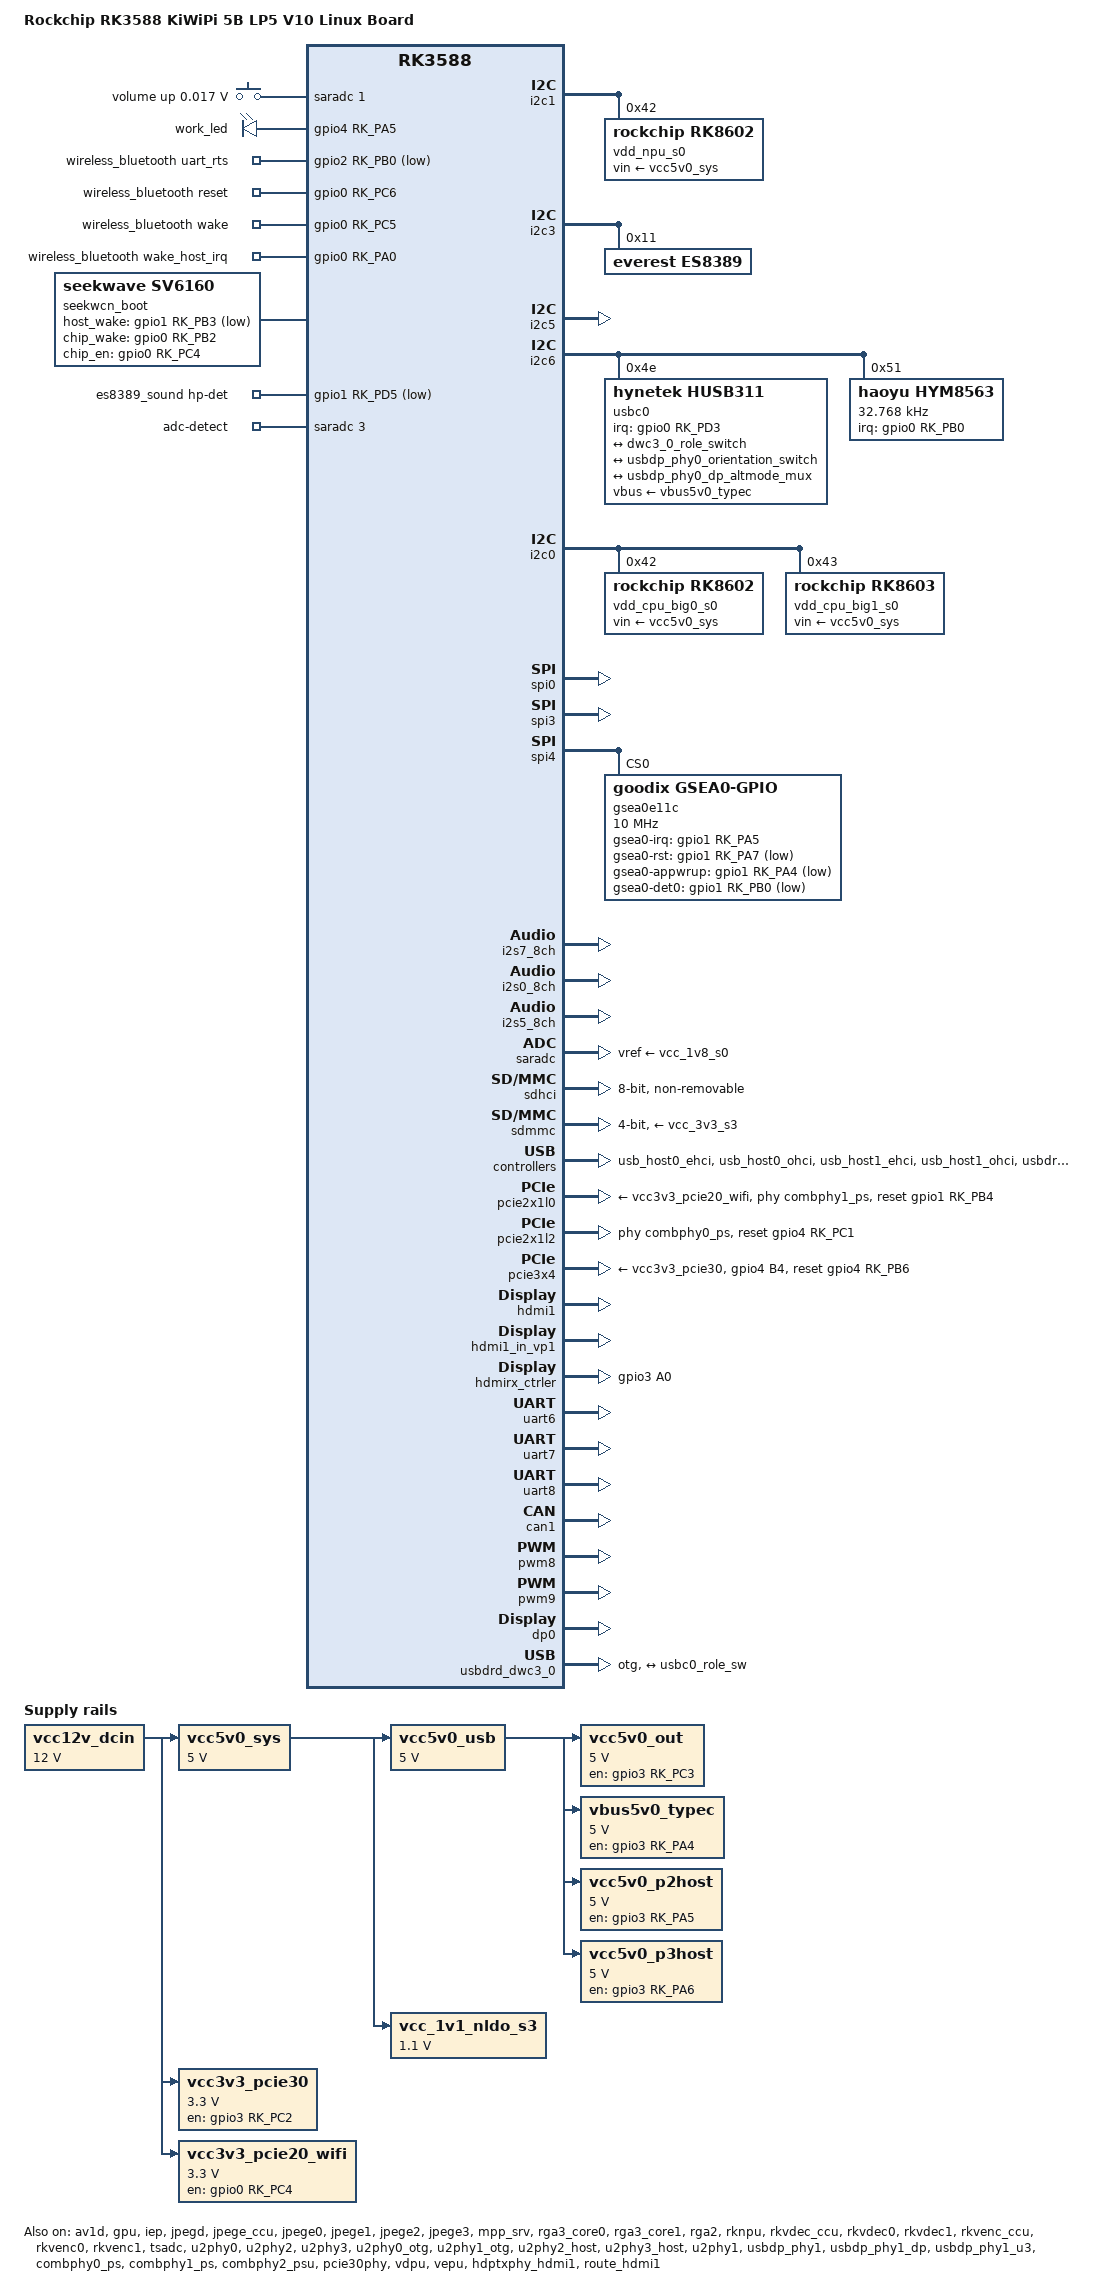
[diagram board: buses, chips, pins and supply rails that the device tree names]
// SPDX-License-Identifier: (GPL-2.0+ OR MIT)
/*
 * Copyright (c) 2021 Rockchip Electronics Co., Ltd.
 *
 */

/dts-v1/;

#include "dt-bindings/usb/pd.h"
#include <dt-bindings/gpio/gpio.h>
#include <dt-bindings/pwm/pwm.h>
#include <dt-bindings/pinctrl/rockchip.h>
#include <dt-bindings/input/rk-input.h>
#include <dt-bindings/display/drm_mipi_dsi.h>
#include <dt-bindings/display/rockchip_vop.h>
#include <dt-bindings/sensor-dev.h>
#include "rk3588.dtsi"
#include "rk3588-rk806-single.dtsi"
#include "rk3588-linux.dtsi"
#include "rk3588-kiwipi-5b-edp.dtsi"
//#include "rk3588-kiwipi-5b-mipi.dtsi"
/ {
	model = "Rockchip RK3588 KiWiPi 5B LP5 V10 Linux Board";
	compatible = "rockchip,rk3588-kiwipi-5B-lp5-v10", "rockchip,rk3588";

	/* If hdmirx node is disabled, delete the reserved-memory node here. */
	reserved-memory {
		#address-cells = <2>;
		#size-cells = <2>;
		ranges;

		/* Reserve 256MB memory for hdmirx-controller@fdee0000 */
		cma {
			compatible = "shared-dma-pool";
			reusable;
			reg = <0x0 (256 * 0x100000) 0x0 (256 * 0x100000)>;
			linux,cma-default;
		};
	};

	hdmiin-sound {
		compatible = "rockchip,hdmi";
		rockchip,mclk-fs = <128>;
		rockchip,format = "i2s";
		rockchip,bitclock-master = <&hdmirx_ctrler>;
		rockchip,frame-master = <&hdmirx_ctrler>;
		rockchip,card-name = "rockchip,hdmiin";
		rockchip,cpu = <&i2s7_8ch>;
		rockchip,codec = <&hdmirx_ctrler 0>;
		rockchip,jack-det;
	};

	adc_keys: adc-keys {
		compatible = "adc-keys";
		io-channels = <&saradc 1>;
		io-channel-names = "buttons";
		keyup-threshold-microvolt = <1800000>;
		poll-interval = <100>;

		vol-up-key {
			label = "volume up";
			linux,code = <KEY_VOLUMEUP>;
			press-threshold-microvolt = <17000>;
		};
	};

	leds: leds {
		compatible = "gpio-leds";
		work_led: work {
			gpios = <&gpio4 RK_PA5 GPIO_ACTIVE_HIGH>;
			default-state = "on";
		};
	};

	vcc12v_dcin: vcc12v-dcin {
		compatible = "regulator-fixed";
		regulator-name = "vcc12v_dcin";
		regulator-always-on;
		regulator-boot-on;
		regulator-min-microvolt = <12000000>;
		regulator-max-microvolt = <12000000>;
	};

	vcc5v0_sys: vcc5v0-sys {
		compatible = "regulator-fixed";
		regulator-name = "vcc5v0_sys";
		regulator-always-on;
		regulator-boot-on;
		regulator-min-microvolt = <5000000>;
		regulator-max-microvolt = <5000000>;
		vin-supply = <&vcc12v_dcin>;
	};

	vcc5v0_usb: vcc5v0-usb {
		compatible = "regulator-fixed";
		regulator-name = "vcc5v0_usb";
		regulator-always-on;
		regulator-boot-on;
		regulator-min-microvolt = <5000000>;
		regulator-max-microvolt = <5000000>;
		vin-supply = <&vcc5v0_sys>;
	};

	test_power: test-power {
		status = "okay";
	};

	vcc3v3_pcie30: vcc3v3-pcie30 {
		compatible = "regulator-fixed";
		regulator-name = "vcc3v3_pcie30";
		regulator-min-microvolt = <3300000>;
		regulator-max-microvolt = <3300000>;
		//regulator-boot-on;
		enable-active-high;
		gpios = <&gpio3 RK_PC2 GPIO_ACTIVE_HIGH>;
		startup-delay-us = <5000>;
		vin-supply = <&vcc12v_dcin>;
	};

	vcc3v3_pcie20_wifi: vcc3v3-pcie20-wifi {
		compatible = "regulator-fixed";
		regulator-name = "vcc3v3_pcie20_wifi";
		regulator-min-microvolt = <3300000>;
		regulator-max-microvolt = <3300000>;
		//regulator-boot-on;
		enable-active-high;
		gpios = <&gpio0 RK_PC4 GPIO_ACTIVE_HIGH>;
		vin-supply = <&vcc12v_dcin>;
	};

	vcc5v0_out: vcc5v0-out {
		compatible = "regulator-fixed";
		regulator-name = "vcc5v0_out";
		regulator-boot-on;
		regulator-always-on;
		regulator-min-microvolt = <5000000>;
		regulator-max-microvolt = <5000000>;
		enable-active-high;
		gpio = <&gpio3 RK_PC3 GPIO_ACTIVE_HIGH>;
		vin-supply = <&vcc5v0_usb>;
		pinctrl-names = "default";
		pinctrl-0 = <&vcc5v0_out_en>;
	};

	vbus5v0_typec: vbus5v0-typec {
		compatible = "regulator-fixed";
		regulator-name = "vbus5v0_typec";
		regulator-boot-on;
		regulator-always-on;
		regulator-min-microvolt = <5000000>;
		regulator-max-microvolt = <5000000>;
		enable-active-high;
		gpio = <&gpio3 RK_PA4 GPIO_ACTIVE_HIGH>;
		vin-supply = <&vcc5v0_usb>;
		pinctrl-names = "default";
		pinctrl-0 = <&vcc5v0_p1host_en>;
	};

	vcc5v0_p2host: vcc5v0-p2host {
		compatible = "regulator-fixed";
		regulator-name = "vcc5v0_p2host";
		regulator-boot-on;
		regulator-always-on;
		regulator-min-microvolt = <5000000>;
		regulator-max-microvolt = <5000000>;
		enable-active-high;
		gpio = <&gpio3 RK_PA5 GPIO_ACTIVE_HIGH>;
		vin-supply = <&vcc5v0_usb>;
		pinctrl-names = "default";
		pinctrl-0 = <&vcc5v0_p2host_en>;
	};
	
	vcc5v0_p3host: vcc5v0-p3host {
		compatible = "regulator-fixed";
		regulator-name = "vcc5v0_p3host";
		regulator-boot-on;
		regulator-always-on;
		regulator-min-microvolt = <5000000>;
		regulator-max-microvolt = <5000000>;
		enable-active-high;
		gpio = <&gpio3 RK_PA6 GPIO_ACTIVE_HIGH>;
		vin-supply = <&vcc5v0_usb>;
		pinctrl-names = "default";
		pinctrl-0 = <&vcc5v0_p3host_en>;
	};

	vcc_1v1_nldo_s3: vcc-1v1-nldo-s3 {
		compatible = "regulator-fixed";
		regulator-name = "vcc_1v1_nldo_s3";
		regulator-always-on;
		regulator-boot-on;
		regulator-min-microvolt = <1100000>;
		regulator-max-microvolt = <1100000>;
		vin-supply = <&vcc5v0_sys>;
	};

	sdio_pwrseq: sdio-pwrseq {
		compatible = "mmc-pwrseq-simple";
		//clocks = <&hym8563>;
		//clock-names = "ext_clock";
		//pinctrl-names = "default";
		//pinctrl-0 = <&wifi_enable_h>;
		/*
		 * On the module itself this is one of these (depending
		 * on the actual card populated):
		 * - SDIO_RESET_L_WL_REG_ON
		 * - PDN (power down when low)
		 */
		post-power-on-delay-ms = <200>;
		//reset-gpios = <&gpio0 RK_PC4 GPIO_ACTIVE_LOW>;
		status = "disabled";
	};

	wireless_bluetooth: wireless-bluetooth {
		compatible = "bluetooth-platdata";
		//clocks = <&hym8563>;
		//clock-names = "ext_clock";
		uart_rts_gpios = <&gpio2 RK_PB0 GPIO_ACTIVE_LOW>;
		pinctrl-names = "default", "rts_gpio";
		pinctrl-0 = <&uart6m0_rtsn>, <&bt_reset_gpio>, <&bt_wake_gpio>, <&bt_irq_gpio>;
		pinctrl-1 = <&uart6_gpios>;
		BT,reset_gpio    = <&gpio0 RK_PC6 GPIO_ACTIVE_HIGH>;
		BT,wake_gpio     = <&gpio0 RK_PC5 GPIO_ACTIVE_HIGH>;
		BT,wake_host_irq = <&gpio0 RK_PA0 GPIO_ACTIVE_HIGH>;
		status = "okay";
	};
#if 0
	wireless_wlan: wireless-wlan {
		compatible = "wlan-platdata";
		wifi_chip_type = "rtl8852be";
		pinctrl-names = "default";
		pinctrl-0 = <&wifi_host_wake_irq>;
		WIFI,host_wake_irq = <&gpio0 RK_PB2 GPIO_ACTIVE_HIGH>;
		//WIFI,poweren_gpio = <&gpio0 RK_PC4 GPIO_ACTIVE_HIGH>;
		status = "okay";
	};
#else
	seekwcn_boot:seekwcn_boot {
		compatible = "seekwave,sv6160";
		dma_type = <1>;/*1:ADMA,2:SDMA*/
		seekwave_nv_name = "SEEKWAVE_NV_SWT6652.bin";
		status = "okay";
		gpio_host_wake = <&gpio1 RK_PB3 GPIO_ACTIVE_LOW>;
		gpio_chip_wake = <&gpio0 RK_PB2 GPIO_ACTIVE_HIGH>;
		gpio_chip_en = <&gpio0 RK_PC4 GPIO_ACTIVE_HIGH>; // 配置wifi芯片第15脚CHIP_EN
	};
#endif
	es8389_sound: es8389-sound {
		status = "okay";
		compatible = "rockchip,multicodecs-card";
		rockchip,card-name = "rockchip-es8389";
		rockchip,format = "i2s";
		rockchip,mclk-fs = <256>;
		rockchip,cpu = <&i2s0_8ch>;
		rockchip,codec = <&es8389>;
		hp-det-gpio = <&gpio1 RK_PD5 GPIO_ACTIVE_LOW>;
		io-channels = <&saradc 3>;
		io-channel-names = "adc-detect";
		pinctrl-names = "default";
		pinctrl-0 = <&hp_det>;
		rockchip,audio-routing =
		"Headphone", "HPOL",
		"Headphone", "HPOR",
		"Headphone", "Headphone Power",
		"Headphone", "Headphone Power";
		//"MIC1", "Headset Mic",
		//"MIC2", "Main Mic";
	};

	hdmi1_sound: hdmi1-sound {
		status = "okay";
		compatible = "rockchip,hdmi";
		rockchip,mclk-fs = <128>;
		rockchip,card-name = "rockchip-hdmi1";
		rockchip,cpu = <&i2s5_8ch>;
		rockchip,codec = <&hdmi1>;
		rockchip,jack-det;
	};

	/*rk_headset: rk-headset {
		status = "okay";
		compatible = "rockchip_headset";
		headset_gpio = <&gpio1 RK_PD5 GPIO_ACTIVE_LOW>;
		pinctrl-names = "default";
		pinctrl-0 = <&hp_det>;
		io-channels = <&saradc 3>;
	};*/

};

&i2c1 {
	status = "okay";
	pinctrl-names = "default";
	pinctrl-0 = <&i2c1m2_xfer>;

	vdd_npu_s0: vdd_npu_mem_s0: rk8602@42 {
		compatible = "rockchip,rk8602";
		reg = <0x42>;
		vin-supply = <&vcc5v0_sys>;
		regulator-compatible = "rk860x-reg";
		regulator-name = "vdd_npu_s0";
		regulator-min-microvolt = <550000>;
		regulator-max-microvolt = <950000>;
		regulator-ramp-delay = <2300>;
		rockchip,suspend-voltage-selector = <1>;
		regulator-boot-on;
		regulator-always-on;
		regulator-state-mem {
			regulator-off-in-suspend;
		};
	};
};

&i2c3 {
	status = "okay";
	es8389: es8389@11 {
		status = "okay";
		compatible = "everest,es8389";
		reg = <0x11>; //0x11 AD0=1.8v //0x10 AD0=GND
		#sound-dai-cells = <0>;
		clocks = <&mclkout_i2s0>;
		clock-names = "mclk";
		assigned-clocks = <&cru I2S0_8CH_MCLKOUT>;
		assigned-clock-rates = <12288000>;
		pinctrl-names = "default";
		pinctrl-0 = <&i2s0_mclk>;
	};
};

&i2c5 {
	status = "okay";
};

&i2c6 {
	status = "okay";
	pinctrl-names = "default";
	pinctrl-0 = <&i2c6m0_xfer>;

	usbc0: husb311@4e {
		compatible = "hynetek,husb311";
		reg = <0x4e>;
		interrupt-parent = <&gpio0>;
		interrupts = <RK_PD3 IRQ_TYPE_LEVEL_LOW>;
		pinctrl-names = "default";
		pinctrl-0 = <&usbc0_int>;
		vbus-supply = <&vbus5v0_typec>;
		status = "okay";

		ports {
			#address-cells = <1>;
			#size-cells = <0>;

			port@0 {
				reg = <0>;
				usbc0_role_sw: endpoint@0 {
					remote-endpoint = <&dwc3_0_role_switch>;
				};
			};
		};

		usb_con: connector {
			compatible = "usb-c-connector";
			label = "USB-C";
			data-role = "dual";
			power-role = "dual";
			try-power-role = "sink";
			op-sink-microwatt = <1000000>;
			sink-pdos =
				<PDO_FIXED(5000, 3000, PDO_FIXED_USB_COMM)
				 PDO_FIXED(9000, 3000, PDO_FIXED_USB_COMM)
				 PDO_FIXED(12000, 3000, PDO_FIXED_USB_COMM)>;
			source-pdos =
				<PDO_FIXED(5000, 3000, PDO_FIXED_USB_COMM)>;

			altmodes {
				#address-cells = <1>;
				#size-cells = <0>;

				altmode@0 {
					reg = <0>;
					svid = <0xff01>;
					vdo = <0xffffffff>;
				};
			};

			ports {
				#address-cells = <1>;
				#size-cells = <0>;

				port@0 {
					reg = <0>;
					usbc0_orien_sw: endpoint {
						remote-endpoint = <&usbdp_phy0_orientation_switch>;
					};
				};

				port@1 {
					reg = <1>;
					dp_altmode_mux: endpoint {
						remote-endpoint = <&usbdp_phy0_dp_altmode_mux>;
					};
				};
			};
		};
	};

	hym8563: hym8563@51 {
		compatible = "haoyu,hym8563";
		reg = <0x51>;
		#clock-cells = <0>;
		clock-frequency = <32768>;
		clock-output-names = "hym8563";
		pinctrl-names = "default";
		pinctrl-0 = <&hym8563_int>;
		interrupt-parent = <&gpio0>;
		interrupts = <RK_PB0 IRQ_TYPE_LEVEL_LOW>;
		wakeup-source;
		status = "okay";
	};
};

&i2c0 {
	status = "okay";
	pinctrl-names = "default";
	pinctrl-0 = <&i2c0m2_xfer>;

	vdd_cpu_big0_s0: vdd_cpu_big0_mem_s0: rk8602@42 {
		compatible = "rockchip,rk8602";
		reg = <0x42>;
		vin-supply = <&vcc5v0_sys>;
		regulator-compatible = "rk860x-reg";
		regulator-name = "vdd_cpu_big0_s0";
		regulator-min-microvolt = <550000>;
		regulator-max-microvolt = <1050000>;
		regulator-ramp-delay = <2300>;
		rockchip,suspend-voltage-selector = <1>;
		regulator-boot-on;
		regulator-always-on;
		regulator-state-mem {
			regulator-off-in-suspend;
		};
	};

	vdd_cpu_big1_s0: vdd_cpu_big1_mem_s0: rk8603@43 {
		compatible = "rockchip,rk8603";
		reg = <0x43>;
		vin-supply = <&vcc5v0_sys>;
		regulator-compatible = "rk860x-reg";
		regulator-name = "vdd_cpu_big1_s0";
		regulator-min-microvolt = <550000>;
		regulator-max-microvolt = <1050000>;
		regulator-ramp-delay = <2300>;
		rockchip,suspend-voltage-selector = <1>;
		regulator-boot-on;
		regulator-always-on;
		regulator-state-mem {
			regulator-off-in-suspend;
		};
	};
};

&spi0 {
	status = "okay";
	pinctrl-names = "default";
	pinctrl-0 = <&spi0m1_cs0 &spi0m1_pins>;
};

&spi3 {
	status = "okay";
	pinctrl-names = "default";
	pinctrl-0 = <&spi3m0_cs0 &spi3m0_pins>;
};

&spi4 {
	status = "okay";
	pinctrl-names = "default";
	pinctrl-0 = <&spi4m2_cs0 &spi4m2_pins>;
	//max-freq = <48000000>;
    
	gsea0e11c: gsea0e11c@0 {
		compatible = "goodix,gsea0-gpio";
		reg = <0>;
		spi-max-frequency = <10000000>;
		//vdd-supply = <&vcc_1v8_s3>;

		gsea0-irq = <&gpio1 RK_PA5 IRQ_TYPE_EDGE_RISING>;
		gsea0-rst = <&gpio1 RK_PA7 GPIO_ACTIVE_LOW>;
		gsea0-appwrup = <&gpio1 RK_PA4 GPIO_ACTIVE_LOW>;
		gsea0-det0 = <&gpio1 RK_PB0 GPIO_ACTIVE_LOW>;
		//gsea0-det1 = <&gpio1 RK_PA5 GPIO_ACTIVE_LOW>;
		se_chip_type = "gsea0"; //<0x01>;

	};
};
&av1d {
	status = "okay";
};

&av1d_mmu {
	status = "okay";
};

&cpu_l0 {
	cpu-supply = <&vdd_cpu_lit_s0>;
	mem-supply = <&vdd_cpu_lit_mem_s0>;
};

&cpu_b0 {
	cpu-supply = <&vdd_cpu_big0_s0>;
	mem-supply = <&vdd_cpu_big0_mem_s0>;
};

&cpu_b2 {
	cpu-supply = <&vdd_cpu_big1_s0>;
	mem-supply = <&vdd_cpu_big1_mem_s0>;
};

&gpu {
	mali-supply = <&vdd_gpu_s0>;
	mem-supply = <&vdd_gpu_mem_s0>;
	status = "okay";
};

&i2s7_8ch {
	status = "okay";
};

&i2s0_8ch {
	status = "okay";
	pinctrl-0 = <&i2s0_lrck
		     &i2s0_sclk
		     &i2s0_sdi0
		     &i2s0_sdo0>;
};

&i2s5_8ch {
	status = "okay";
};

&iep {
	status = "okay";
};

&iep_mmu {
	status = "okay";
};

&jpegd {
	status = "okay";
};

&jpegd_mmu {
	status = "okay";
};

&jpege_ccu {
	status = "okay";
};

&jpege0 {
	status = "okay";
};

&jpege0_mmu {
	status = "okay";
};

&jpege1 {
	status = "okay";
};

&jpege1_mmu {
	status = "okay";
};

&jpege2 {
	status = "okay";
};

&jpege2_mmu {
	status = "okay";
};

&jpege3 {
	status = "okay";
};

&jpege3_mmu {
	status = "okay";
};

&mpp_srv {
	status = "okay";
};

&rga3_core0 {
	status = "okay";
};

&rga3_0_mmu {
	status = "okay";
};

&rga3_core1 {
	status = "okay";
};

&rga3_1_mmu {
	status = "okay";
};

&rga2 {
	status = "okay";
};

&rknpu {
	rknpu-supply = <&vdd_npu_s0>;
	mem-supply = <&vdd_npu_mem_s0>;
	status = "okay";
};

&rknpu_mmu {
	status = "okay";
};

&rkvdec_ccu {
	status = "okay";
};

&rkvdec0 {
	status = "okay";
};

&rkvdec0_mmu {
	status = "okay";
};

&rkvdec1 {
	status = "okay";
};

&rkvdec1_mmu {
	status = "okay";
};

&rkvenc_ccu {
	status = "okay";
};

&rkvenc0 {
	venc-supply = <&vdd_vdenc_s0>;
	mem-supply = <&vdd_vdenc_mem_s0>;
	status = "okay";
};

&rkvenc0_mmu {
	status = "okay";
};

&rkvenc1 {
	venc-supply = <&vdd_vdenc_s0>;
	mem-supply = <&vdd_vdenc_mem_s0>;
	status = "okay";
};

&rkvenc1_mmu {
	status = "okay";
};

&rockchip_suspend {
	status = "okay";
	rockchip,sleep-debug-en = <1>;
};

&saradc {
	status = "okay";
	vref-supply = <&vcc_1v8_s0>;
};

&tsadc {
	status = "okay";
};

&sdio {
	status = "disabled";
	max-frequency = <150000000>;
	no-sd;
	no-mmc;
	bus-width = <4>;
	disable-wp;
	cap-sd-highspeed;
	cap-sdio-irq;
	keep-power-in-suspend;
	mmc-pwrseq = <&sdio_pwrseq>;
	non-removable;
	pinctrl-names = "default";
	pinctrl-0 = <&sdiom1_pins>;
	sd-uhs-sdr104;
};

&sdhci {
	status = "okay";
	bus-width = <8>;
	no-sdio;
	no-sd;
	non-removable;
	max-frequency = <200000000>;
	mmc-hs400-1_8v;
	mmc-hs400-enhanced-strobe;
	full-pwr-cycle-in-suspend;
};

&sdmmc {
	status = "okay";
	max-frequency = <150000000>;
	no-sdio;
	no-mmc;
	bus-width = <4>;
	cap-mmc-highspeed;
	cap-sd-highspeed;
	disable-wp;
	sd-uhs-sdr104;
	vmmc-supply = <&vcc_3v3_s3>;
	vqmmc-supply = <&vccio_sd_s0>;
};

&u2phy0 {
	status = "okay";
};

&u2phy2 {
	status = "okay";
};

&u2phy3 {
	status = "okay";
};

&u2phy0_otg {
	status = "okay";
	rockchip,typec-vbus-det;
};

&u2phy1_otg {
	status = "okay";
	//rockchip,typec-vbus-det;
};

&u2phy2_host {
	status = "okay";
	phy-supply = <&vcc5v0_p2host>;
};

&u2phy3_host {
	status = "okay";
	phy-supply = <&vcc5v0_p3host>;
};

&usb_host0_ehci {
	status = "okay";
};

&usb_host0_ohci {
	status = "okay";
};

&usb_host1_ehci {
	status = "okay";
};

&usb_host1_ohci {
	status = "okay";
};

&usbdrd3_0 {
	status = "okay";
};

&usbhost3_0 {
	status = "okay";
};

&usbhost_dwc3_0 {
	status = "okay";
};

//typec-1
&u2phy1 {
	status = "okay";
};

&usbdrd3_1 {
	status = "okay";
};

&usbdrd_dwc3_1 {
	status = "okay";
};

&usbdp_phy1 {
	maximum-speed = "high-speed";
	rockchip,dp-lane-mux = <3 2 1 0>;
	status = "okay";
};

&usbdp_phy1_dp {
	status = "okay";
};

&usbdp_phy1_u3 {
	status = "okay";
};
//typec-1

&combphy0_ps {//pcie2x1l2
	status = "okay";
};

&combphy1_ps {//pcie2x1l0
	status = "okay";
};

&combphy2_psu {//usbhost_dwc3_0/pcie2x1l1
	status = "okay";
};

&pcie30phy {
	//rockchip,pcie30-phymode = <PHY_MODE_PCIE_NANBNB>;
	rockchip,pcie30-phymode = <PHY_MODE_PCIE_AGGREGATION>;
	status = "okay";
};

&sata1 {
	status = "disabled";
};

//pcie to wifi vs5562p
&pcie2x1l0 {
	phys = <&combphy1_ps PHY_TYPE_PCIE>;
	vpcie3v3-supply = <&vcc3v3_pcie20_wifi>;
	reset-gpios = <&gpio1 RK_PB4 GPIO_ACTIVE_HIGH>;
	rockchip,skip-scan-in-resume;
	rockchip,perst-inactive-ms = <500>;
	status = "okay";
};

//ethernet
&pcie2x1l2 {
	phys = <&combphy0_ps PHY_TYPE_PCIE>;
	reset-gpios = <&gpio4 RK_PC1 GPIO_ACTIVE_HIGH>;
	rockchip,skip-scan-in-resume;
	status = "okay";
};

//M.2 SSD
&pcie3x4 {
	reset-gpios = <&gpio4 RK_PB6 GPIO_ACTIVE_HIGH>;
	vpcie3v3-supply = <&vcc3v3_pcie30>;
	rockchip,perst-inactive-ms = <500>;
	pinctrl-names = "default";
	pinctrl-0 = <&pcie30x4_clkreqn_m1>;
	status = "okay";
};

&vdpu {
	status = "okay";
};

&vdpu_mmu {
	status = "okay";
};

&vepu {
	status = "okay";
};

&hdmi1 {
	//enable-gpios = <&gpio3 RK_PD5 GPIO_ACTIVE_HIGH>;
	status = "okay";
};

&hdmi1_in_vp1 {
    status = "okay";
};

&hdptxphy_hdmi1 {
    status = "okay";
};

&route_hdmi1 {
    status = "okay";
};

/* Should work with at least 128MB cma reserved above. */
&hdmirx_ctrler {
	status = "okay";

	#sound-dai-cells = <1>;
	/* Effective level used to trigger HPD: 0-low, 1-high */
	hpd-trigger-level = <1>;
	hdmirx-det-gpios = <&gpio3 RK_PA0 GPIO_ACTIVE_LOW>;
	pinctrl-names = "default";
	pinctrl-0 = <&hdmim1_rx &hdmirx_det>;
};

&uart6 {
	status = "okay";
	pinctrl-names = "default";
	pinctrl-0 = <&uart6m0_xfer &uart6m0_ctsn>;
};

&uart7 {
    status = "okay";
};

&uart8 {
    status = "okay";
    pinctrl-names = "default";
    pinctrl-0 = <&uart8m0_xfer>;	
};

&can1 {
  status = "okay";
};

&pwm8 {
	status = "okay";
};

&pwm9 {
	status = "okay";
};

&dp0 {
	status = "okay";
};

&dp0_in_vp2 {
	status = "okay";
};

&usbdp_phy0 {
	status = "okay";
	orientation-switch;
	svid = <0xff01>;
	sbu1-dc-gpios = <&gpio4 RK_PA6 GPIO_ACTIVE_HIGH>;
	sbu2-dc-gpios = <&gpio4 RK_PA7 GPIO_ACTIVE_HIGH>;

	port {
		#address-cells = <1>;
		#size-cells = <0>;
		usbdp_phy0_orientation_switch: endpoint@0 {
			reg = <0>;
			remote-endpoint = <&usbc0_orien_sw>;
		};

		usbdp_phy0_dp_altmode_mux: endpoint@1 {
			reg = <1>;
			remote-endpoint = <&dp_altmode_mux>;
		};
	};
};

&usbdp_phy0_dp {
	status = "okay";
};

&usbdp_phy0_u3 {
	status = "okay";
};

&usbdrd_dwc3_0 {
	status = "okay";
	dr_mode = "otg";
	usb-role-switch;
	port {
		#address-cells = <1>;
		#size-cells = <0>;
		dwc3_0_role_switch: endpoint@0 {
			reg = <0>;
			remote-endpoint = <&usbc0_role_sw>;
		};
	};
};

&vop {
	//assigned-clocks = <&cru ACLK_VOP>;
	//assigned-clock-rates = <800000000>;
	vop-supply = <&vdd_log_s0>;
	status = "okay";
};

&vop_mmu {
	status = "okay";
};

/* vp0 & vp1 splice for 8K output */
&vp0 {
	rockchip,plane-mask = <(1 << ROCKCHIP_VOP2_CLUSTER0 | 1 << ROCKCHIP_VOP2_ESMART0)>;
	rockchip,primary-plane = <ROCKCHIP_VOP2_ESMART0>;
};

&vp1 {
	rockchip,plane-mask = <(1 << ROCKCHIP_VOP2_CLUSTER1 | 1 << ROCKCHIP_VOP2_ESMART1)>;
	rockchip,primary-plane = <ROCKCHIP_VOP2_ESMART1>;
};

&vp2 {
	rockchip,plane-mask = <(1 << ROCKCHIP_VOP2_CLUSTER2 | 1 << ROCKCHIP_VOP2_ESMART2)>;
	rockchip,primary-plane = <ROCKCHIP_VOP2_ESMART2>;
};

&vp3 {
	rockchip,plane-mask = <(1 << ROCKCHIP_VOP2_CLUSTER3 | 1 << ROCKCHIP_VOP2_ESMART3)>;
	rockchip,primary-plane = <ROCKCHIP_VOP2_ESMART3>;
};

&pinctrl {
	headphone {
		hp_det: hp-det {
			rockchip,pins = <1 RK_PD5 RK_FUNC_GPIO &pcfg_pull_none>;
		};
	};

	hym8563 {
		hym8563_int: hym8563-int {
			rockchip,pins = <0 RK_PB0 RK_FUNC_GPIO &pcfg_pull_up>;
		};
	};

	usb {
		vcc5v0_out_en: vcc5v0-out-en {
			rockchip,pins = <3 RK_PC3 RK_FUNC_GPIO &pcfg_pull_up>;
		};
		
		vcc5v0_p1host_en: vcc5v0-p1host-en {
			rockchip,pins = <3 RK_PA4 RK_FUNC_GPIO &pcfg_pull_none>;
		};
		vcc5v0_p2host_en: vcc5v0-p2host-en {
			rockchip,pins = <3 RK_PA5 RK_FUNC_GPIO &pcfg_pull_none>;
		};
		vcc5v0_p3host_en: vcc5v0-p3host-en {
			rockchip,pins = <3 RK_PA6 RK_FUNC_GPIO &pcfg_pull_none>;
		};
	};

	usb-typec {
		usbc0_int: usbc0-int {
			rockchip,pins = <0 RK_PD3 RK_FUNC_GPIO &pcfg_pull_up>;
		};
	};

	hdmi {
		hdmirx_det: hdmirx-det {
			rockchip,pins = <3 RK_PA0 RK_FUNC_GPIO &pcfg_pull_up>;
		};
	};

	wireless-bluetooth {
		uart6_gpios: uart6-gpios {
			rockchip,pins = <2 RK_PB0 RK_FUNC_GPIO &pcfg_pull_none>;
		};

		bt_reset_gpio: bt-reset-gpio {
			rockchip,pins = <0 RK_PC6 RK_FUNC_GPIO &pcfg_pull_none>;
		};

		bt_wake_gpio: bt-wake-gpio {
			rockchip,pins = <0 RK_PC5 RK_FUNC_GPIO &pcfg_pull_none>;
		};

		bt_irq_gpio: bt-irq-gpio {
			rockchip,pins = <0 RK_PA0 RK_FUNC_GPIO &pcfg_pull_down>;
		};
		/*
		bt_gpio: bt-gpio {
			rockchip,pins =
				<0 RK_PA0 RK_FUNC_GPIO &pcfg_pull_down>,
				<0 RK_PC6 RK_FUNC_GPIO &pcfg_pull_none>,
				<0 RK_PC5 RK_FUNC_GPIO &pcfg_pull_none>;
		};*/
	};

	wireless-wlan {
		wifi_host_wake_irq: wifi-host-wake-irq {
			rockchip,pins = <0 RK_PB2 RK_FUNC_GPIO &pcfg_pull_down>;
		};
		wifi_poweren_gpio: wifi-poweren-gpio {
			rockchip,pins = <0 RK_PC4 RK_FUNC_GPIO &pcfg_pull_up>;
		};
	};

	sdio-pwrseq {
		wifi_enable_h: wifi-enable-h {
		       rockchip,pins = <0 RK_PC4 RK_FUNC_GPIO &pcfg_pull_up>;
	       };
	};


/*	pcie2x1 {
		pcie2x1_rst_m2: pcie2x1-rst-m2 {
			rockchip,pins = <1 RK_PB4 RK_FUNC_GPIO &pcfg_pull_up>;
		};
	};
*/
	pcie30x4 {
		pcie30x4_clkreqn_m1: pcie30x4-clkreqn-m1 {
			rockchip,pins = <4 RK_PB4 RK_FUNC_GPIO &pcfg_pull_down>;
		};
	};

};
